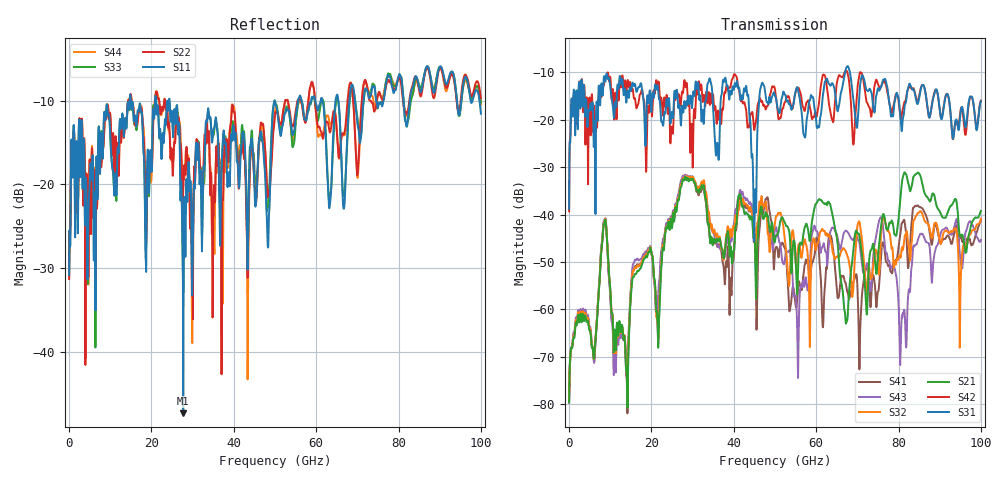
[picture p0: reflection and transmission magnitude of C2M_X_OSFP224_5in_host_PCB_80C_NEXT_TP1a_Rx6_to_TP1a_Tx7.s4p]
# GHz S RI R 45
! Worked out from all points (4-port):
!   4000 points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, 25 MHz to 100 GHz, reference 45 ohm
!   strongest paths, dB at 25 MHz, 25.02 GHz, 50.02 GHz, 75.03 GHz, 100 GHz:
!     S31: -38.8, -18.4, -15.0, -13.3, -16.1
!     S42: -39.3, -21.6, -13.7, -12.5, -15.9
!     S21: -79.6, -42.7, -45.5, -48.6, -39.2
!     S32: -78.7, -41.7, -41.7, -50.4, -40.9
!     S43: -79.8, -41.0, -43.1, -42.3, -45.3
!     S41: -79.3, -42.2, -47.7, -56.2, -41.2
!   lowest |S11| = -47.4 dB at 27.73 GHz (marker M1), VSWR 1.01, Z = 45.3 + j0.248 ohm
!   |S11| at or under -10 dB: start of sweep to 14.7 GHz; 15 GHz to 20.89 GHz (5.886 GHz wide, 32.8 % of centre); 24.42 GHz to 55.58 GHz (31.15 GHz wide, 77.9 % of centre)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
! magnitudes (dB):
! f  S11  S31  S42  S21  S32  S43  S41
! 25 MHz  -30.8  -38.8  -39.3  -79.6  -78.7  -79.8  -79.3
! 8.6 GHz  -11.3  -10.9  -11.9  -41.8  -41.5  -41.1  -41.5
! 27.73 GHz  -47.4  -18.5  -14.1  -32.6  -32.3  -31.8  -32.1
! 42.95 GHz  -18.9  -12.9  -17.7  -39.5  -37.7  -36.9  -38.6
! 45.08 GHz  -21.5  -39.8  -21.8  -44.9  -42.7  -44.2  -44.2
! 55.48 GHz  -10.4  -13.2  -13.4  -55.3  -47.9  -67.6  -56.9
! 100 GHz  -11.6  -16.1  -15.9  -39.2  -40.9  -45.3  -41.2
